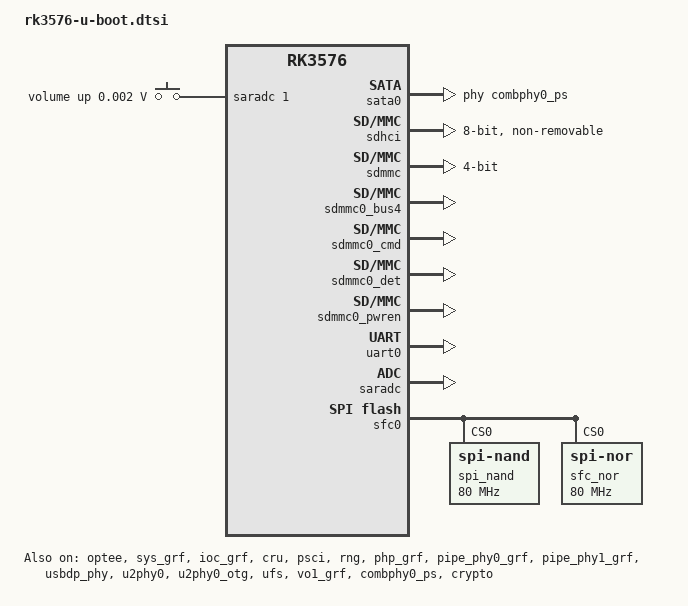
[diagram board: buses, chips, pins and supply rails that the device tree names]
// SPDX-License-Identifier: (GPL-2.0+ OR MIT)
/*
 * (C) Copyright 2025 Rockchip Electronics Co., Ltd
 */

#include "rockchip-u-boot.dtsi"

/ {
	aliases {
		mmc0 = &sdhci;
		mmc1 = &sdmmc;
	};

	chosen {
		u-boot,spl-boot-order = &sdmmc, &spi_nand, &spi_nor, "same-as-spl";
	};

	adc-keys {
		compatible = "adc-keys";
		io-channels = <&saradc 1>;
		io-channel-names = "buttons";
		keyup-threshold-microvolt = <1800000>;
		bootph-all;
		status = "okay";

		volumeup-key {
			bootph-all;
			linux,code = <KEY_VOLUMEUP>;
			label = "volume up";
			press-threshold-microvolt = <1750>;
		};
	};

	dmc {
		compatible = "rockchip,rk3576-dmc";
		bootph-all;
	};

	sata0: sata@2a240000 {
		compatible = "rockchip,rk-ahci", "snps,dwc-ahci";
		reg = <0 0x2a240000 0 0x1000>;
		clocks = <&cru ACLK_SATA0>, <&cru CLK_PMALIVE0>,
			 <&cru CLK_RXOOB0>;
		clock-names = "sata", "pmalive", "rxoob";
		interrupts = <GIC_SPI 262 IRQ_TYPE_LEVEL_HIGH>;
		interrupt-names = "hostc";
		power-domains = <&power RK3576_PD_SUBPHP>;
		phys = <&combphy0_ps PHY_TYPE_SATA>;
		phy-names = "sata-phy";
		ports-implemented = <0x1>;
		dma-coherent;
		status = "disabled";
	};

	crypto: crypto@2a400000 {
		compatible = "rockchip,crypto-v4";
		reg = <0x0 0x2a400000 0x0 0x2000>;
		interrupts = <GIC_SPI 177 IRQ_TYPE_LEVEL_HIGH>;
		clocks = <&cru ACLK_CRYPTO_NS>, <&cru HCLK_CRYPTO_NS>,
			 <&cru CLK_PKA_CRYPTO_NS>;
		clock-names = "aclk", "hclk", "pka";
		resets = <&cru SRST_H_CRYPTO_NS>;
		reset-names = "crypto-rst";
		status = "disabled";
	};

	secure-otp@2a480000 {
		bootph-all;
		compatible = "rockchip,rk3576-secure-otp";
		reg = <0x0 0x2a480000 0x0 0x10000>;
	};
};


&emmc_bus8 {
	bootph-pre-ram;
	bootph-some-ram;
};

&emmc_clk {
	bootph-pre-ram;
	bootph-some-ram;
};

&emmc_cmd {
	bootph-pre-ram;
	bootph-some-ram;
};

&emmc_rstnout {
	bootph-pre-ram;
	bootph-some-ram;
};

&emmc_strb {
	bootph-pre-ram;
	bootph-some-ram;
};

&pcfg_pull_up_drv_level_3 {
	bootph-pre-ram;
	bootph-some-ram;
};

&pmu1_grf {
	bootph-all;
};

&sdhci {
	bootph-pre-ram;
	bootph-some-ram;
};

&sdmmc {
	bootph-pre-ram;
	bootph-some-ram;
	u-boot,spl-fifo-mode;
	bus-width = <4>;
	status = "okay";
};

&sdmmc0_bus4 {
	bootph-pre-ram;
	bootph-some-ram;
	status = "okay";
};

&sdmmc0_clk {
	bootph-pre-ram;
	bootph-some-ram;
	status = "okay";
};

&sdmmc0_cmd {
	bootph-pre-ram;
	bootph-some-ram;
	status = "okay";
};

&sdmmc0_det {
	bootph-pre-ram;
	bootph-some-ram;
	status = "okay";
};

&sdmmc0_pwren {
	bootph-pre-ram;
	bootph-some-ram;
	status = "okay";
};

&xin24m {
	bootph-all;
};

&optee {
	bootph-all;
	status = "okay";
};
//-=--------------------------------------

&firmware {
	bootph-all;
};

&gpio0 {
	bootph-all;
	status = "okay";
};

&gpio1 {
	bootph-all;
	status = "okay";
};

&gpio2 {
	bootph-all;
	status = "okay";
};

&gpio3 {
	bootph-all;
	status = "okay";
};

&gpio4 {
	bootph-all;
	status = "okay";
};

&scmi {
	bootph-all;
};

&scmi_clk {
	bootph-all;
};

&scmi_shmem {
	bootph-all;
};

&sys_grf {
	bootph-all;
	status = "okay";
};

&ioc_grf {
	bootph-all;
	status = "okay";
};

&cru {
	bootph-all;
	status = "okay";
};

&psci {
	bootph-all;
	status = "okay";
};

&uart0 {
	bootph-all;
	status = "okay";
};

&crypto {
	bootph-all;
	status = "okay";
};

#if 0
&hw_decompress {
	bootph-all;
	status = "okay";
};
#endif

&rng {
	bootph-all;
	status = "okay";
};

&saradc {
	bootph-all;
	status = "okay";
};

&sdhci {
	bus-width = <8>;
	bootph-all;
	mmc-hs400-1_8v;
	mmc-hs400-enhanced-strobe;
	non-removable;
	status = "okay";
};

#if 0
&sdmmc {
	bus-width = <4>;
	bootph-all;
	status = "okay";
};

&sdmmc0 {
	bootph-all;
};

&sdmmc0_bus4 {
	bootph-all;
};

&sdmmc0_clk {
	bootph-all;
};

&sdmmc0_cmd {
	bootph-all;
};

&sdmmc0_det {
	bootph-all;
};

&sdmmc0_pwren {
	bootph-all;
};
#endif

&sfc0 {
	bootph-all;
	status = "okay";

	#address-cells = <1>;
	#size-cells = <0>;
	spi_nand: flash@0 {
		bootph-all;
		compatible = "spi-nand";
		reg = <0>;
		spi-tx-bus-width = <1>;
		spi-rx-bus-width = <4>;
		spi-max-frequency = <80000000>;
	};

	spi_nor: flash@1 {
		bootph-all;
		compatible = "jedec,spi-nor";
		label = "sfc_nor";
		reg = <0>;
		spi-tx-bus-width = <1>;
		spi-rx-bus-width = <4>;
		spi-max-frequency = <80000000>;
	};
};

&pinctrl {
	bootph-all;
};

&pcfg_pull_up_drv_level_2 {
	bootph-all;
};

&pcfg_pull_up {
	bootph-all;
};

&pcfg_pull_none {
	bootph-all;
};

&php_grf {
	bootph-all;
	status = "okay";
};

&pipe_phy0_grf {
	bootph-all;
	status = "okay";
};

&pipe_phy1_grf {
	bootph-all;
	status = "okay";
};

&usbdpphy_grf {
	bootph-all;
};

&usbdp_phy {
	bootph-all;
	status = "okay";
};

&usb_grf {
	bootph-all;
};

&usb2phy_grf {
	bootph-all;
};


&u2phy0 {
	bootph-all;
	status = "okay";
};

&u2phy0_otg {
	bootph-all;
	status = "okay";
};

&ufs {
	bootph-all;
	status = "okay";
};

&vo1_grf {
	bootph-all;
	status = "okay";
};

&pipe_phy0_grf {
	bootph-all;
	status = "okay";
};

&php_grf {
	bootph-all;
	status = "okay";
};

&combphy0_ps {
	bootph-all;
	status = "okay";
};

&sata0 {
	bootph-all;
	status = "okay";
};
